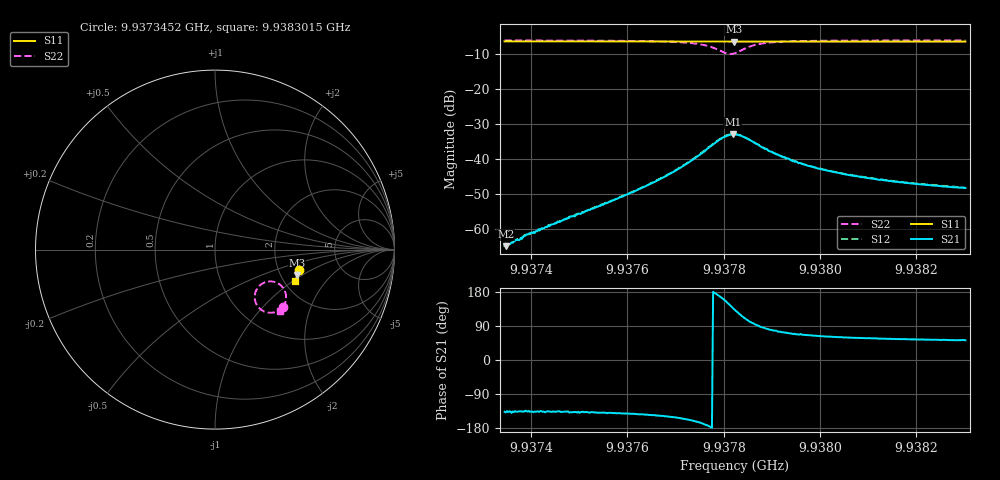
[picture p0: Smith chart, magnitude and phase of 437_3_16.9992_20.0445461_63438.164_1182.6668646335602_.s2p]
#  HZ  S  RI  R  50.00
! Rohde & Schwarz Vector Network Analyzer
! Rohde-Schwarz,ZNB20-2Port,1311601062101988,3.16
! Created: UTC 3/20/2024, 11:11:42 PM
! freq[Hz]  re:S11  im:S11  re:S21  im:S21  re:S12  im:S12  re:S22  im:S22
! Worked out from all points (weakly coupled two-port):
!   401 points, 9.9373452 GHz to 9.9383015 GHz, reference 50 ohm
!   highest |S21| = -32.90 dB at 9.9378186 GHz (marker M1); lowest = -64.8 dB at 9.9373476 GHz (marker M2)
!   lowest |S11| = -6.4 dB at 9.937821 GHz (marker M3), VSWR 2.84, Z = 123 - j44.9 ohm
!   |S11| at or under -10 dB: nowhere
!   |S22| runs from -9.9 to -6.1 dB; largest |S21 - S12| = 0.00093
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9.93734525e9  0.4705 -0.1114  -0.000421 -0.000397  -0.000417 -0.000403  0.3812 -0.3196
9.93734764e9  0.4703 -0.1116  -0.000429 -0.000381  -0.000451 -0.000434  0.3809 -0.32
9.93737633e9  0.4695 -0.1135  -0.0005 -0.000496  -0.000535 -0.000513  0.3788 -0.322
9.93739545e9  0.4694 -0.115  -0.000609 -0.000619  -0.000621 -0.000588  0.3772 -0.3236
9.93750542e9  0.4668 -0.1224  -0.00126 -0.00117  -0.0013 -0.00117  0.366 -0.3324
9.93759866e9  0.4648 -0.1284  -0.00244 -0.00196  -0.00251 -0.00193  0.3513 -0.3418
9.9376656e9  0.4629 -0.133  -0.00429 -0.00277  -0.00443 -0.00276  0.3325 -0.349
9.9377158e9  0.4615 -0.1363  -0.00724 -0.00341  -0.00742 -0.00338  0.3054 -0.3522
9.93776122e9  0.4597 -0.1395  -0.0129 -0.00222  -0.0133 -0.00213  0.2587 -0.3363
9.93778035e9  0.4588 -0.1403  -0.0168 0.000761  -0.0171 0.000993  0.2329 -0.3086
9.93779708e9  0.4581 -0.1408  -0.0193 0.00604  -0.0194 0.0066  0.221 -0.2636
9.93780904e9  0.4576 -0.1409  -0.0187 0.0112  -0.019 0.0119  0.2313 -0.2237
9.9378186e9  0.4576 -0.1411  -0.0168 0.0152  -0.0166 0.0159  0.2541 -0.1965
9.93782099e9  0.4575 -0.141  -0.0158 0.0161  -0.0158 0.0166  0.2614 -0.1909
9.93782338e9  0.4576 -0.1411  -0.0151 0.0168  -0.0149 0.0175  0.2692 -0.1867
9.93784489e9  0.458 -0.1421  -0.00665 0.019  -0.00623 0.0196  0.3378 -0.1822
9.93787597e9  0.4581 -0.1443  0.000645 0.0153  0.000833 0.0156  0.3858 -0.2237
9.937919e9  0.4575 -0.1477  0.003 0.0106  0.00331 0.0106  0.3964 -0.2666
9.93798355e9  0.456 -0.1523  0.00333 0.00706  0.00353 0.00706  0.3905 -0.2976
9.93805766e9  0.454 -0.1571  0.0031 0.00513  0.00321 0.00516  0.382 -0.3152
9.93814373e9  0.4518 -0.1629  0.00273 0.00402  0.00285 0.00406  0.3736 -0.3275
9.93830151e9  0.4474 -0.173  0.00239 0.00307  0.00248 0.00306  0.3609 -0.3418
